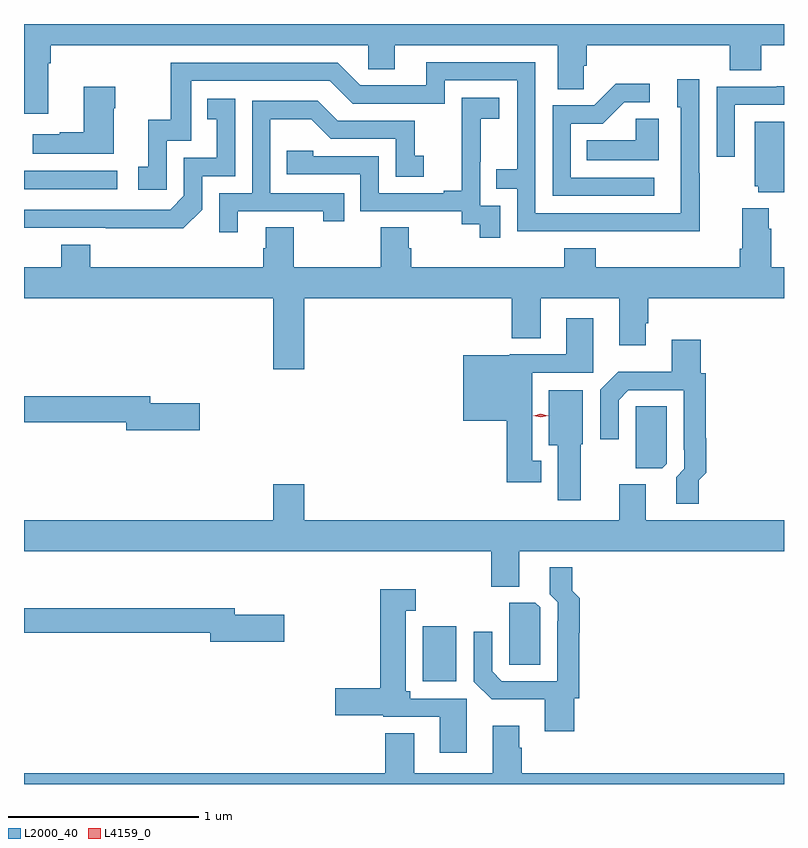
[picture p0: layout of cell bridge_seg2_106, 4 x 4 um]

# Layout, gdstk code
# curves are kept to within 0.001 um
import gdstk
lib = gdstk.Library(unit=1e-6, precision=1e-09)
def R(c, l, rs):  # rectangles x0, y0, x1, y1
    for r in rs: c.add(gdstk.rectangle(r[:2], r[2:], *l))
def P(c, l, *ps):  # polygons
    for p in ps: c.add(gdstk.Polygon(p, *l))
L2000_40 = (2000, 40)
L4159_0 = (4159, 0)

bridge_seg2_106 = lib.new_cell('bridge_seg2_106')
R(bridge_seg2_106, L2000_40, [(561.399,616.316,561.577,616.606), (559.301,618.906,559.792,619.002)])
P(bridge_seg2_106, L2000_40, [(559.429,619.568),(559.442,619.568),(559.442,619.664),(561.114,619.664),(561.114,619.537),(561.253,619.537),(561.253,619.664),(562.109,619.664),(562.109,619.432),(562.248,619.432),(562.248,619.555),(562.262,619.555),(562.262,619.664),(563.015,619.664),(563.015,619.531),(563.18,619.531),(563.18,619.664),(563.301,619.664),(563.301,619.775),(559.301,619.775),(559.301,619.302),(559.429,619.302)],
  [(562.857,618.989),(562.854,618.989),(562.854,619.483),(562.739,619.483),(562.739,619.338),(562.758,619.338),(562.758,618.78),(561.993,618.78),(561.993,619.575),(561.419,619.575),(561.419,619.452),(561.072,619.452),(560.952,619.572),(560.073,619.572),(560.073,619.27),(559.955,619.27),(559.955,619.023),(559.902,619.023),(559.902,618.903),(560.052,618.903),(560.052,619.161),(560.181,619.161),(560.181,619.476),(560.91,619.476),(561.03,619.356),(561.516,619.356),(561.516,619.479),(561.897,619.479),(561.897,619.01),(561.787,619.01),(561.787,618.909),(561.897,618.909),(561.897,618.684),(562.857,618.683)],
  [(562.618,618.966),(562.179,618.966),(562.179,619.251),(562.348,619.251),(562.459,619.362),(562.594,619.362),(562.594,619.46),(562.415,619.46),(562.302,619.347),(562.083,619.347),(562.083,618.87),(562.618,618.87)],
  [(563.043,619.35),(563.301,619.35),(563.301,619.448),(563.263,619.448),(563.263,619.446),(562.947,619.446),(562.947,619.077),(563.043,619.077)],
  [(559.774,619.331),(559.782,619.331),(559.782,619.444),(559.616,619.444),(559.616,619.205),(559.49,619.205),(559.49,619.195),(559.347,619.195),(559.347,619.091),(559.774,619.091)],
  [(561.807,618.819),(561.702,618.819),(561.702,619.049),(561.704,619.049),(561.704,619.277),(561.802,619.277),(561.802,619.387),(561.604,619.387),(561.604,619.181),(561.605,619.181),(561.605,618.898),(561.509,618.898),(561.509,618.885),(561.168,618.885),(561.168,619.08),(560.823,619.08),(560.823,619.107),(560.683,619.107),(560.683,618.984),(561.072,618.984),(561.072,618.789),(561.606,618.789),(561.606,618.721),(561.699,618.721),(561.699,618.651),(561.807,618.651)],
  [(560.238,618.798),(560.238,618.975),(560.412,618.975),(560.412,619.381),(560.266,619.381),(560.266,619.275),(560.315,619.275),(560.315,619.071),(560.142,619.071),(560.142,618.87),(560.07,618.798),(559.301,618.798),(559.301,618.702),(560.14,618.701)],
  [(560.425,618.789),(560.876,618.789),(560.876,618.738),(560.987,618.738),(560.987,618.885),(560.598,618.885),(560.598,619.274),(560.812,619.274),(560.916,619.17),(561.258,619.17),(561.258,618.972),(561.406,618.972),(561.406,619.081),(561.357,619.081),(561.357,619.266),(560.953,619.266),(560.848,619.371),(560.502,619.371),(560.502,618.885),(560.328,618.885),(560.328,618.678),(560.425,618.678)],
  [(562.642,619.277),(562.521,619.277),(562.521,619.162),(562.264,619.162),(562.264,619.058),(562.642,619.058)],
  [(563.301,619.261),(563.147,619.261),(563.147,618.921),(563.165,618.921),(563.165,618.89),(563.301,618.89)],
  [(560.776,618.332),(561.869,618.332),(561.869,618.121),(562.021,618.121),(562.021,618.332),(562.433,618.332),(562.433,618.084),(562.573,618.084),(562.573,618.199),(562.586,618.199),(562.586,618.332),(563.301,618.332),(563.301,618.496),(563.234,618.496),(563.234,618.698),(563.221,618.698),(563.221,618.805),(563.081,618.805),(563.081,618.592),(563.069,618.592),(563.069,618.496),(562.31,618.496),(562.31,618.595),(562.145,618.595),(562.145,618.496),(561.338,618.496),(561.338,618.594),(561.325,618.594),(561.325,618.704),(561.178,618.704),(561.178,618.496),(560.721,618.496),(560.721,618.704),(560.573,618.704),(560.573,618.594),(560.561,618.594),(560.561,618.496),(559.649,618.496),(559.649,618.613),(559.496,618.613),(559.496,618.496),(559.301,618.496),(559.301,618.332),(560.612,618.332),(560.612,617.958),(560.776,617.958)],
  [(562.024,617.477),(561.976,617.477),(561.976,617.94),(562.297,617.94),(562.297,618.226),(562.154,618.226),(562.154,618.036),(561.858,618.036),(561.858,618.031),(561.614,618.031),(561.614,617.687),(561.842,617.687),(561.842,617.364),(562.024,617.364)],
  [(562.853,617.373),(562.892,617.412),(562.892,617.594),(562.889,617.594),(562.889,617.937),(562.862,617.937),(562.862,618.112),(562.709,618.112),(562.709,617.944),(562.429,617.944),(562.335,617.85),(562.335,617.589),(562.431,617.589),(562.431,617.796),(562.482,617.847),(562.773,617.847),(562.773,617.533),(562.776,617.533),(562.776,617.433),(562.733,617.39),(562.733,617.25),(562.853,617.25)],
  [(562.231,617.562),(562.243,617.562),(562.243,617.848),(562.064,617.848),(562.064,617.558),(562.109,617.558),(562.109,617.268),(562.231,617.268)],
  [(560.227,617.78),(559.966,617.78),(559.966,617.816),(559.301,617.816),(559.301,617.68),(559.838,617.68),(559.838,617.638),(560.227,617.638)],
  [(562.683,617.46),(562.683,617.762),(562.521,617.762),(562.521,617.651),(562.52,617.651),(562.52,617.437),(562.659,617.437)],
  [(561.907,617),(563.301,617),(563.301,617.164),(562.573,617.164),(562.573,617.352),(562.433,617.352),(562.433,617.164),(560.776,617.164),(560.776,617.353),(560.612,617.353),(560.612,617.164),(559.301,617.164),(559.301,617),(561.76,617),(561.76,616.813),(561.907,616.813)],
  [(562.196,616.227),(562.223,616.227),(562.223,616.57),(562.226,616.57),(562.226,616.752),(562.187,616.791),(562.187,616.915),(562.067,616.915),(562.067,616.774),(562.11,616.731),(562.11,616.631),(562.107,616.631),(562.107,616.317),(561.816,616.317),(561.765,616.368),(561.765,616.576),(561.669,616.576),(561.669,616.314),(561.763,616.22),(562.043,616.22),(562.043,616.053),(562.196,616.053)],
  [(561.631,616.224),(561.335,616.224),(561.335,616.263),(561.31,616.263),(561.31,616.688),(561.364,616.688),(561.364,616.801),(561.176,616.801),(561.176,616.28),(560.94,616.28),(560.94,616.138),(561.192,616.138),(561.192,616.128),(561.488,616.128),(561.488,615.939),(561.631,615.939)],
  [(562.017,616.704),(561.993,616.728),(561.854,616.728),(561.854,616.513),(561.855,616.513),(561.855,616.402),(562.017,616.402)],
  [(560.671,616.665),(560.41,616.665),(560.41,616.699),(559.301,616.699),(559.301,616.57),(560.282,616.57),(560.282,616.523),(560.671,616.523)],
  [(563.301,615.832),(561.92,615.832),(561.92,615.965),(561.907,615.965),(561.907,616.081),(561.767,616.081),(561.767,615.832),(561.355,615.832),(561.355,616.043),(561.203,616.043),(561.203,615.832),(559.301,615.832),(559.301,615.775),(563.301,615.775)])
P(bridge_seg2_106, L4159_0, [(562.021,617.704),(561.982,617.714),(561.982,617.714),(561.982,617.714),(562.021,617.724),(562.06,617.713),(562.06,617.713),(562.06,617.713)])

lib.write_gds('bridge_seg2_106.gds')
